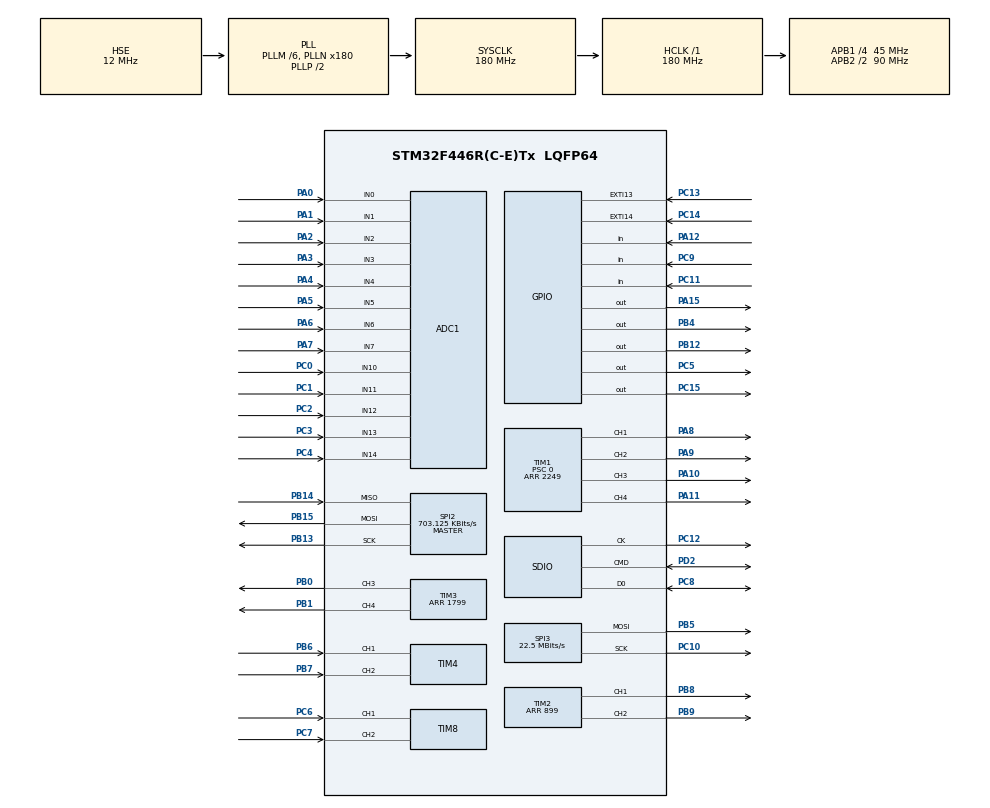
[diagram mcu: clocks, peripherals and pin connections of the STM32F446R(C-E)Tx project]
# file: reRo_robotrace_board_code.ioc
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ADC1.Channel-0\#ChannelRegularConversion=ADC_CHANNEL_10
ADC1.Channel-1\#ChannelRegularConversion=ADC_CHANNEL_11
ADC1.Channel-10\#ChannelRegularConversion=ADC_CHANNEL_7
ADC1.Channel-11\#ChannelRegularConversion=ADC_CHANNEL_6
ADC1.Channel-13\#ChannelRegularConversion=ADC_CHANNEL_14
ADC1.Channel-2\#ChannelRegularConversion=ADC_CHANNEL_12
ADC1.Channel-3\#ChannelRegularConversion=ADC_CHANNEL_13
ADC1.Channel-4\#ChannelRegularConversion=ADC_CHANNEL_2
ADC1.Channel-5\#ChannelRegularConversion=ADC_CHANNEL_1
ADC1.Channel-6\#ChannelRegularConversion=ADC_CHANNEL_0
ADC1.Channel-7\#ChannelRegularConversion=ADC_CHANNEL_3
ADC1.Channel-8\#ChannelRegularConversion=ADC_CHANNEL_4
ADC1.Channel-9\#ChannelRegularConversion=ADC_CHANNEL_5
ADC1.ContinuousConvMode=ENABLE
ADC1.DMAContinuousRequests=ENABLE
ADC1.NbrOfConversion=13
ADC1.NbrOfConversionFlag=1
ADC1.Rank-0\#ChannelRegularConversion=1
ADC1.Rank-1\#ChannelRegularConversion=2
ADC1.Rank-10\#ChannelRegularConversion=11
ADC1.Rank-11\#ChannelRegularConversion=12
ADC1.Rank-13\#ChannelRegularConversion=13
ADC1.Rank-2\#ChannelRegularConversion=3
ADC1.Rank-3\#ChannelRegularConversion=4
ADC1.Rank-4\#ChannelRegularConversion=5
ADC1.Rank-5\#ChannelRegularConversion=6
ADC1.Rank-6\#ChannelRegularConversion=7
ADC1.Rank-7\#ChannelRegularConversion=8
ADC1.Rank-8\#ChannelRegularConversion=9
ADC1.Rank-9\#ChannelRegularConversion=10
ADC1.SamplingTime-0\#ChannelRegularConversion=ADC_SAMPLETIME_15CYCLES
ADC1.SamplingTime-1\#ChannelRegularConversion=ADC_SAMPLETIME_15CYCLES
ADC1.SamplingTime-10\#ChannelRegularConversion=ADC_SAMPLETIME_15CYCLES
ADC1.SamplingTime-11\#ChannelRegularConversion=ADC_SAMPLETIME_15CYCLES
ADC1.SamplingTime-13\#ChannelRegularConversion=ADC_SAMPLETIME_15CYCLES
ADC1.SamplingTime-2\#ChannelRegularConversion=ADC_SAMPLETIME_15CYCLES
ADC1.SamplingTime-3\#ChannelRegularConversion=ADC_SAMPLETIME_15CYCLES
ADC1.SamplingTime-4\#ChannelRegularConversion=ADC_SAMPLETIME_15CYCLES
ADC1.SamplingTime-5\#ChannelRegularConversion=ADC_SAMPLETIME_15CYCLES
ADC1.SamplingTime-6\#ChannelRegularConversion=ADC_SAMPLETIME_15CYCLES
ADC1.SamplingTime-7\#ChannelRegularConversion=ADC_SAMPLETIME_15CYCLES
ADC1.SamplingTime-8\#ChannelRegularConversion=ADC_SAMPLETIME_15CYCLES
ADC1.SamplingTime-9\#ChannelRegularConversion=ADC_SAMPLETIME_15CYCLES
ADC1.ScanConvMode=ENABLE
ADC1.master=1
Dma.ADC1.2.Direction=DMA_PERIPH_TO_MEMORY
Dma.ADC1.2.FIFOMode=DMA_FIFOMODE_DISABLE
Dma.ADC1.2.Instance=DMA2_Stream0
Dma.ADC1.2.MemDataAlignment=DMA_MDATAALIGN_HALFWORD
Dma.ADC1.2.MemInc=DMA_MINC_ENABLE
Dma.ADC1.2.Mode=DMA_CIRCULAR
Dma.ADC1.2.PeriphDataAlignment=DMA_PDATAALIGN_HALFWORD
Dma.ADC1.2.PeriphInc=DMA_PINC_DISABLE
Dma.ADC1.2.Priority=DMA_PRIORITY_LOW
Dma.Request0=SDIO_RX
Dma.Request1=SDIO_TX
Dma.Request2=ADC1
Dma.SDIO_RX.0.Direction=DMA_PERIPH_TO_MEMORY
Dma.SDIO_RX.0.FIFOMode=DMA_FIFOMODE_ENABLE
Dma.SDIO_RX.0.FIFOThreshold=DMA_FIFO_THRESHOLD_FULL
Dma.SDIO_RX.0.Instance=DMA2_Stream3
Dma.SDIO_RX.0.MemBurst=DMA_MBURST_INC4
Dma.SDIO_RX.0.MemDataAlignment=DMA_MDATAALIGN_WORD
Dma.SDIO_RX.0.MemInc=DMA_MINC_ENABLE
Dma.SDIO_RX.0.Mode=DMA_PFCTRL
Dma.SDIO_RX.0.PeriphBurst=DMA_PBURST_INC4
Dma.SDIO_RX.0.PeriphDataAlignment=DMA_PDATAALIGN_WORD
Dma.SDIO_RX.0.PeriphInc=DMA_PINC_DISABLE
Dma.SDIO_RX.0.Priority=DMA_PRIORITY_MEDIUM
Dma.SDIO_TX.1.Direction=DMA_MEMORY_TO_PERIPH
Dma.SDIO_TX.1.FIFOMode=DMA_FIFOMODE_ENABLE
Dma.SDIO_TX.1.FIFOThreshold=DMA_FIFO_THRESHOLD_FULL
Dma.SDIO_TX.1.Instance=DMA2_Stream6
Dma.SDIO_TX.1.MemBurst=DMA_MBURST_INC4
Dma.SDIO_TX.1.MemDataAlignment=DMA_MDATAALIGN_WORD
Dma.SDIO_TX.1.MemInc=DMA_MINC_ENABLE
Dma.SDIO_TX.1.Mode=DMA_PFCTRL
Dma.SDIO_TX.1.PeriphBurst=DMA_PBURST_INC4
Dma.SDIO_TX.1.PeriphDataAlignment=DMA_PDATAALIGN_WORD
Dma.SDIO_TX.1.PeriphInc=DMA_PINC_DISABLE
Dma.SDIO_TX.1.Priority=DMA_PRIORITY_MEDIUM
FATFS.BSP.number=1
FATFS.USE_DMA_CODE_SD=1
FATFS._FS_RPATH=1
FATFS._MAX_SS=4096
FATFS._USE_CHMOD=1
FATFS._USE_LFN=1
FATFS0.BSP.STBoard=false
FATFS0.BSP.api=Unknown
FATFS0.BSP.instance=PC11
FATFS0.BSP.ip=GPIO
FATFS0.BSP.mode=Input
FATFS0.BSP.name=Detect_SDIO
FATFS0.BSP.solution=PC11
Mcu.Family=STM32F4
Mcu.Name=STM32F446R(C-E)Tx
Mcu.Package=LQFP64
NVIC.DMA2_Stream0_IRQn=true\:0\:0\:false\:false\:true\:false\:true\:true
NVIC.DMA2_Stream3_IRQn=true\:0\:0\:false\:false\:true\:false\:true\:true
NVIC.DMA2_Stream6_IRQn=true\:0\:0\:false\:false\:true\:false\:true\:true
NVIC.EXTI15_10_IRQn=true\:0\:0\:false\:false\:true\:true\:true\:true
NVIC.PriorityGroup=NVIC_PRIORITYGROUP_4
NVIC.SDIO_IRQn=true\:0\:0\:false\:false\:true\:true\:true\:true
NVIC.TIM1_UP_TIM10_IRQn=true\:0\:0\:false\:false\:true\:true\:true\:true
NVIC.TIM6_DAC_IRQn=true\:0\:0\:true\:false\:true\:true\:true\:true
NVIC.TIM7_IRQn=true\:0\:0\:false\:false\:true\:true\:true\:true
PA0-WKUP.Signal=ADCx_IN0
PA1.Signal=ADCx_IN1
PA10.Signal=S_TIM1_CH3
PA11.Signal=S_TIM1_CH4
PA12.GPIO_PuPd=GPIO_PULLUP
PA12.Signal=GPIO_Input
PA13.Mode=Trace_Asynchronous_SW
PA13.Signal=SYS_JTMS-SWDIO
PA14.Mode=Trace_Asynchronous_SW
PA14.Signal=SYS_JTCK-SWCLK
PA15.Signal=GPIO_Output
PA2.Signal=ADCx_IN2
PA3.Signal=ADCx_IN3
PA4.Signal=ADCx_IN4
PA5.Signal=ADCx_IN5
PA6.Signal=ADCx_IN6
PA7.Signal=ADCx_IN7
PA8.Signal=S_TIM1_CH1
PA9.Signal=S_TIM1_CH2
PB0.Signal=S_TIM3_CH3
PB1.Signal=S_TIM3_CH4
PB12.GPIO_Speed=GPIO_SPEED_FREQ_HIGH
PB12.Signal=GPIO_Output
PB13.Mode=Full_Duplex_Master
PB13.Signal=SPI2_SCK
PB14.Mode=Full_Duplex_Master
PB14.Signal=SPI2_MISO
PB15.Mode=Full_Duplex_Master
PB15.Signal=SPI2_MOSI
PB3.Mode=Trace_Asynchronous_SW
PB3.Signal=SYS_JTDO-SWO
PB4.Signal=GPIO_Output
PB5.Mode=TX_Only_Simplex_Unidirect_Master
PB5.Signal=SPI3_MOSI
PB6.Signal=S_TIM4_CH1
PB7.Signal=S_TIM4_CH2
PB8.GPIO_PuPd=GPIO_NOPULL
PB8.Signal=S_TIM2_CH1_ETR
PB9.GPIO_PuPd=GPIO_NOPULL
PB9.Signal=S_TIM2_CH2
PC0.Signal=ADCx_IN10
PC1.Signal=ADCx_IN11
PC10.Mode=TX_Only_Simplex_Unidirect_Master
PC10.Signal=SPI3_SCK
PC11.Signal=GPIO_Input
PC12.Mode=SD_1_bit
PC12.Signal=SDIO_CK
PC13.GPIO_ModeDefaultEXTI=GPIO_MODE_IT_RISING_FALLING
PC13.Signal=GPXTI13
PC14-OSC32_IN.GPIO_ModeDefaultEXTI=GPIO_MODE_IT_RISING_FALLING
PC14-OSC32_IN.Signal=GPXTI14
PC15-OSC32_OUT.Signal=GPIO_Output
PC2.Signal=ADCx_IN12
PC3.Signal=ADCx_IN13
PC4.Signal=ADCx_IN14
PC5.GPIO_PuPd=GPIO_NOPULL
PC5.Signal=GPIO_Output
PC6.GPIO_PuPd=GPIO_NOPULL
PC6.Signal=S_TIM8_CH1
PC7.GPIO_PuPd=GPIO_NOPULL
PC7.Signal=S_TIM8_CH2
PC8.Mode=SD_1_bit
PC8.Signal=SDIO_D0
PC9.GPIO_PuPd=GPIO_PULLUP
PC9.Signal=GPIO_Input
PD2.Mode=SD_1_bit
PD2.Signal=SDIO_CMD
PH0-OSC_IN.Mode=HSE-External-Oscillator
PH0-OSC_IN.Signal=RCC_OSC_IN
PH1-OSC_OUT.Mode=HSE-External-Oscillator
PH1-OSC_OUT.Signal=RCC_OSC_OUT
ProjectManager.HeapSize=0x200
ProjectManager.StackSize=0x400
ProjectManager.TargetToolchain=STM32CubeIDE
RCC.AHBFreq_Value=180000000
RCC.APB1CLKDivider=RCC_HCLK_DIV4
RCC.APB1Freq_Value=45000000
RCC.APB1TimFreq_Value=90000000
RCC.APB2CLKDivider=RCC_HCLK_DIV2
RCC.APB2Freq_Value=90000000
RCC.APB2TimFreq_Value=180000000
RCC.CortexFreq_Value=180000000
RCC.HCLKFreq_Value=180000000
RCC.HSE_VALUE=12000000
RCC.PLLM=6
RCC.PLLN=180
RCC.PLLQ=8
RCC.PLLSourceVirtual=RCC_PLLSOURCE_HSE
RCC.SYSCLKFreq_VALUE=180000000
RCC.SYSCLKSource=RCC_SYSCLKSOURCE_PLLCLK
RCC.USBFreq_Value=45000000
RCC.VCOOutputFreq_Value=360000000
SH.ADCx_IN0.0=ADC1_IN0,IN0
SH.ADCx_IN1.0=ADC1_IN1,IN1
SH.ADCx_IN10.0=ADC1_IN10,IN10
SH.ADCx_IN11.0=ADC1_IN11,IN11
SH.ADCx_IN12.0=ADC1_IN12,IN12
SH.ADCx_IN13.0=ADC1_IN13,IN13
SH.ADCx_IN14.0=ADC1_IN14,IN14
SH.ADCx_IN2.0=ADC1_IN2,IN2
SH.ADCx_IN3.0=ADC1_IN3,IN3
SH.ADCx_IN4.0=ADC1_IN4,IN4
SH.ADCx_IN5.0=ADC1_IN5,IN5
SH.ADCx_IN6.0=ADC1_IN6,IN6
SH.ADCx_IN7.0=ADC1_IN7,IN7
SH.S_TIM1_CH1.0=TIM1_CH1,PWM Generation1 CH1
SH.S_TIM1_CH2.0=TIM1_CH2,PWM Generation2 CH2
SH.S_TIM1_CH3.0=TIM1_CH3,PWM Generation3 CH3
SH.S_TIM1_CH4.0=TIM1_CH4,PWM Generation4 CH4
SH.S_TIM2_CH1_ETR.0=TIM2_CH1,PWM Generation1 CH1
SH.S_TIM2_CH2.0=TIM2_CH2,PWM Generation2 CH2
SH.S_TIM3_CH3.0=TIM3_CH3,PWM Generation3 CH3
SH.S_TIM3_CH4.0=TIM3_CH4,PWM Generation4 CH4
SH.S_TIM4_CH1.0=TIM4_CH1,Encoder_Interface
SH.S_TIM4_CH2.0=TIM4_CH2,Encoder_Interface
SH.S_TIM8_CH1.0=TIM8_CH1,Encoder_Interface
SH.S_TIM8_CH2.0=TIM8_CH2,Encoder_Interface
SPI2.BaudRatePrescaler=SPI_BAUDRATEPRESCALER_64
SPI2.CLKPhase=SPI_PHASE_1EDGE
SPI2.CLKPolarity=SPI_POLARITY_LOW
SPI2.CalculateBaudRate=703.125 KBits/s
SPI2.Direction=SPI_DIRECTION_2LINES
SPI2.Mode=SPI_MODE_MASTER
SPI2.VirtualType=VM_MASTER
SPI3.CalculateBaudRate=22.5 MBits/s
SPI3.Direction=SPI_DIRECTION_2LINES
SPI3.Mode=SPI_MODE_MASTER
SPI3.VirtualType=VM_MASTER
TIM1.Channel-PWM\ Generation1\ CH1=TIM_CHANNEL_1
TIM1.Channel-PWM\ Generation2\ CH2=TIM_CHANNEL_2
TIM1.Channel-PWM\ Generation3\ CH3=TIM_CHANNEL_3
TIM1.Channel-PWM\ Generation4\ CH4=TIM_CHANNEL_4
TIM1.ClockDivision=TIM_CLOCKDIVISION_DIV1
TIM1.Period=2249
TIM1.Prescaler=0
TIM10.Period=9999
TIM10.Prescaler=179
TIM2.Channel-PWM\ Generation1\ CH1=TIM_CHANNEL_1
TIM2.Channel-PWM\ Generation2\ CH2=TIM_CHANNEL_2
TIM2.Period=899
TIM3.Channel-PWM\ Generation3\ CH3=TIM_CHANNEL_3
TIM3.Channel-PWM\ Generation4\ CH4=TIM_CHANNEL_4
TIM3.Period=1799
TIM4.EncoderMode=TIM_ENCODERMODE_TI12
TIM6.Period=999
TIM6.Prescaler=89
TIM7.Period=99
TIM7.Prescaler=89
TIM8.EncoderMode=TIM_ENCODERMODE_TI12
VP_FATFS_VS_SDIO.Mode=SDIO
VP_TIM10_VS_ClockSourceINT.Mode=Enable_Timer
VP_TIM6_VS_ClockSourceINT.Mode=Enable_Timer
VP_TIM7_VS_ClockSourceINT.Mode=Enable_Timer
board=custom

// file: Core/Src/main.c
/* USER CODE BEGIN Header */
/**
 ******************************************************************************
 * @file           : main.c
 * @brief          : Main program body
 ******************************************************************************
 * @attention
 *
 * Copyright (c) 2023 STMicroelectronics.
 * All rights reserved.
 *
 * This software is licensed under terms that can be found in the LICENSE file
 * in the root directory of this software component.
 * If no LICENSE file comes with this software, it is provided AS-IS.
 *
 ******************************************************************************
 */
/* USER CODE END Header */
#include "main.h"
#include "fatfs.h"

/* USER CODE BEGIN Includes */
//#include "AQM0802.h"
#include "stdio.h"
//#include "MPU6500.h"
#include "cppMain.hpp"

/* USER CODE END Includes */

ADC_HandleTypeDef hadc1;
DMA_HandleTypeDef hdma_adc1;

SD_HandleTypeDef hsd;
DMA_HandleTypeDef hdma_sdio_rx;
DMA_HandleTypeDef hdma_sdio_tx;

SPI_HandleTypeDef hspi2;
SPI_HandleTypeDef hspi3;

TIM_HandleTypeDef htim1;
TIM_HandleTypeDef htim2;
TIM_HandleTypeDef htim3;
TIM_HandleTypeDef htim4;
TIM_HandleTypeDef htim6;
TIM_HandleTypeDef htim7;
TIM_HandleTypeDef htim8;
TIM_HandleTypeDef htim10;

/* USER CODE BEGIN PV */
uint16_t tim6_timer;
uint16_t tim7_timer;
uint16_t tim10_timer;

/* USER CODE END PV */

void SystemClock_Config(void);
static void MX_GPIO_Init(void);
static void MX_DMA_Init(void);
static void MX_ADC1_Init(void);
static void MX_SDIO_SD_Init(void);
static void MX_SPI2_Init(void);
static void MX_TIM1_Init(void);
static void MX_TIM8_Init(void);
static void MX_TIM6_Init(void);
static void MX_TIM2_Init(void);
static void MX_TIM7_Init(void);
static void MX_SPI3_Init(void);
static void MX_TIM4_Init(void);
static void MX_TIM10_Init(void);
static void MX_TIM3_Init(void);

/* USER CODE BEGIN 0 */
int _write(int file, char *ptr, int len)
{
	int DataIdx;
	for(DataIdx=0; DataIdx<len; DataIdx++)
	{
		ITM_SendChar(*ptr++);
	}
	return len;
}

void HAL_GPIO_EXTI_Callback(uint16_t GPIO_Pin)
{
	cppExit(GPIO_Pin);
}

void HAL_TIM_PeriodElapsedCallback(TIM_HandleTypeDef *htim)
{
	if(htim->Instance == TIM7){		//0.1ms
		cppFlip100ns();

		tim7_timer++;
		if(tim7_timer >= 100000) tim7_timer = 0;
	}

	if (htim->Instance == TIM6){	//1msec
		cppFlip1ms();

		tim6_timer++;
		if(tim6_timer >= 100000) tim6_timer = 0;
	}

	if (htim->Instance == TIM10){	//10msec
		cppFlip10ms();

		tim10_timer++;
		if(tim10_timer >= 100000) tim10_timer = 0;
	}

}

/* USER CODE END 0 */

int main(void)
{

  /* MCU Configuration--------------------------------------------------------*/

  /* Reset of all peripherals, Initializes the Flash interface and the Systick. */
  HAL_Init();

  /* Configure the system clock */
  SystemClock_Config();

  /* Initialize all configured peripherals */
  MX_GPIO_Init();
  MX_DMA_Init();
  MX_ADC1_Init();
  MX_SDIO_SD_Init();
  MX_SPI2_Init();
  MX_TIM1_Init();
  MX_TIM8_Init();
  MX_TIM6_Init();
  MX_FATFS_Init();
  MX_TIM2_Init();
  MX_TIM7_Init();
  MX_SPI3_Init();
  MX_TIM4_Init();
  MX_TIM10_Init();
  MX_TIM3_Init();
  /* USER CODE BEGIN 2 */
	cppInit();

	//printf("HelloWorld!!\r\n");

  /* USER CODE END 2 */

  /* Infinite loop */
  /* USER CODE BEGIN WHILE */
	while (1)
	{
		cppLoop();

    /* USER CODE END WHILE */

	}
}

void SystemClock_Config(void)
{
  RCC_OscInitTypeDef RCC_OscInitStruct = {0};
  RCC_ClkInitTypeDef RCC_ClkInitStruct = {0};

  /** Configure the main internal regulator output voltage
  */
  __HAL_RCC_PWR_CLK_ENABLE();
  __HAL_PWR_VOLTAGESCALING_CONFIG(PWR_REGULATOR_VOLTAGE_SCALE1);

  /** Initializes the RCC Oscillators according to the specified parameters
  * in the RCC_OscInitTypeDef structure.
  */
  RCC_OscInitStruct.OscillatorType = RCC_OSCILLATORTYPE_HSE;
  RCC_OscInitStruct.HSEState = RCC_HSE_ON;
  RCC_OscInitStruct.PLL.PLLState = RCC_PLL_ON;
  RCC_OscInitStruct.PLL.PLLSource = RCC_PLLSOURCE_HSE;
  RCC_OscInitStruct.PLL.PLLM = 6;
  RCC_OscInitStruct.PLL.PLLN = 180;
  RCC_OscInitStruct.PLL.PLLP = RCC_PLLP_DIV2;
  RCC_OscInitStruct.PLL.PLLQ = 8;
  RCC_OscInitStruct.PLL.PLLR = 2;
  if (HAL_RCC_OscConfig(&RCC_OscInitStruct) != HAL_OK)
  {
    Error_Handler();
  }

  /** Activate the Over-Drive mode
  */
  if (HAL_PWREx_EnableOverDrive() != HAL_OK)
  {
    Error_Handler();
  }

  /** Initializes the CPU, AHB and APB buses clocks
  */
  RCC_ClkInitStruct.ClockType = RCC_CLOCKTYPE_HCLK|RCC_CLOCKTYPE_SYSCLK
                              |RCC_CLOCKTYPE_PCLK1|RCC_CLOCKTYPE_PCLK2;
  RCC_ClkInitStruct.SYSCLKSource = RCC_SYSCLKSOURCE_PLLCLK;
  RCC_ClkInitStruct.AHBCLKDivider = RCC_SYSCLK_DIV1;
  RCC_ClkInitStruct.APB1CLKDivider = RCC_HCLK_DIV4;
  RCC_ClkInitStruct.APB2CLKDivider = RCC_HCLK_DIV2;

  if (HAL_RCC_ClockConfig(&RCC_ClkInitStruct, FLASH_LATENCY_5) != HAL_OK)
  {
    Error_Handler();
  }
}

static void MX_ADC1_Init(void)
{

  ADC_ChannelConfTypeDef sConfig = {0};

  /** Configure the global features of the ADC (Clock, Resolution, Data Alignment and number of conversion)
  */
  hadc1.Instance = ADC1;
  hadc1.Init.ClockPrescaler = ADC_CLOCK_SYNC_PCLK_DIV4;
  hadc1.Init.Resolution = ADC_RESOLUTION_12B;
  hadc1.Init.ScanConvMode = ENABLE;
  hadc1.Init.ContinuousConvMode = ENABLE;
  hadc1.Init.DiscontinuousConvMode = DISABLE;
  hadc1.Init.ExternalTrigConvEdge = ADC_EXTERNALTRIGCONVEDGE_NONE;
  hadc1.Init.ExternalTrigConv = ADC_SOFTWARE_START;
  hadc1.Init.DataAlign = ADC_DATAALIGN_RIGHT;
  hadc1.Init.NbrOfConversion = 13;
  hadc1.Init.DMAContinuousRequests = ENABLE;
  hadc1.Init.EOCSelection = ADC_EOC_SINGLE_CONV;
  if (HAL_ADC_Init(&hadc1) != HAL_OK)
  {
    Error_Handler();
  }

  /** Configure for the selected ADC regular channel its corresponding rank in the sequencer and its sample time.
  */
  sConfig.Channel = ADC_CHANNEL_10;
  sConfig.Rank = 1;
  sConfig.SamplingTime = ADC_SAMPLETIME_15CYCLES;
  if (HAL_ADC_ConfigChannel(&hadc1, &sConfig) != HAL_OK)
  {
    Error_Handler();
  }

  /** Configure for the selected ADC regular channel its corresponding rank in the sequencer and its sample time.
  */
  sConfig.Channel = ADC_CHANNEL_11;
  sConfig.Rank = 2;
  if (HAL_ADC_ConfigChannel(&hadc1, &sConfig) != HAL_OK)
  {
    Error_Handler();
  }

  /** Configure for the selected ADC regular channel its corresponding rank in the sequencer and its sample time.
  */
  sConfig.Channel = ADC_CHANNEL_12;
  sConfig.Rank = 3;
  if (HAL_ADC_ConfigChannel(&hadc1, &sConfig) != HAL_OK)
  {
    Error_Handler();
  }

  /** Configure for the selected ADC regular channel its corresponding rank in the sequencer and its sample time.
  */
  sConfig.Channel = ADC_CHANNEL_13;
  sConfig.Rank = 4;
  if (HAL_ADC_ConfigChannel(&hadc1, &sConfig) != HAL_OK)
  {
    Error_Handler();
  }

  /** Configure for the selected ADC regular channel its corresponding rank in the sequencer and its sample time.
  */
  sConfig.Channel = ADC_CHANNEL_2;
  sConfig.Rank = 5;
  if (HAL_ADC_ConfigChannel(&hadc1, &sConfig) != HAL_OK)
  {
    Error_Handler();
  }

  /** Configure for the selected ADC regular channel its corresponding rank in the sequencer and its sample time.
  */
  sConfig.Channel = ADC_CHANNEL_1;
  sConfig.Rank = 6;
  if (HAL_ADC_ConfigChannel(&hadc1, &sConfig) != HAL_OK)
  {
    Error_Handler();
  }

  /** Configure for the selected ADC regular channel its corresponding rank in the sequencer and its sample time.
  */
  sConfig.Channel = ADC_CHANNEL_0;
  sConfig.Rank = 7;
  if (HAL_ADC_ConfigChannel(&hadc1, &sConfig) != HAL_OK)
  {
    Error_Handler();
  }

  /** Configure for the selected ADC regular channel its corresponding rank in the sequencer and its sample time.
  */
  sConfig.Channel = ADC_CHANNEL_3;
  sConfig.Rank = 8;
  if (HAL_ADC_ConfigChannel(&hadc1, &sConfig) != HAL_OK)
  {
    Error_Handler();
  }

  /** Configure for the selected ADC regular channel its corresponding rank in the sequencer and its sample time.
  */
  sConfig.Channel = ADC_CHANNEL_4;
  sConfig.Rank = 9;
  if (HAL_ADC_ConfigChannel(&hadc1, &sConfig) != HAL_OK)
  {
    Error_Handler();
  }

  /** Configure for the selected ADC regular channel its corresponding rank in the sequencer and its sample time.
  */
  sConfig.Channel = ADC_CHANNEL_5;
  sConfig.Rank = 10;
  if (HAL_ADC_ConfigChannel(&hadc1, &sConfig) != HAL_OK)
  {
    Error_Handler();
  }

  /** Configure for the selected ADC regular channel its corresponding rank in the sequencer and its sample time.
  */
  sConfig.Channel = ADC_CHANNEL_7;
  sConfig.Rank = 11;
  if (HAL_ADC_ConfigChannel(&hadc1, &sConfig) != HAL_OK)
  {
    Error_Handler();
  }

  /** Configure for the selected ADC regular channel its corresponding rank in the sequencer and its sample time.
  */
  sConfig.Channel = ADC_CHANNEL_6;
  sConfig.Rank = 12;
  if (HAL_ADC_ConfigChannel(&hadc1, &sConfig) != HAL_OK)
  {
    Error_Handler();
  }

  /** Configure for the selected ADC regular channel its corresponding rank in the sequencer and its sample time.
  */
  sConfig.Channel = ADC_CHANNEL_14;
  sConfig.Rank = 13;
  if (HAL_ADC_ConfigChannel(&hadc1, &sConfig) != HAL_OK)
  {
    Error_Handler();
  }

}

static void MX_SDIO_SD_Init(void)
{

  hsd.Instance = SDIO;
  hsd.Init.ClockEdge = SDIO_CLOCK_EDGE_RISING;
  hsd.Init.ClockBypass = SDIO_CLOCK_BYPASS_DISABLE;
  hsd.Init.ClockPowerSave = SDIO_CLOCK_POWER_SAVE_DISABLE;
  hsd.Init.BusWide = SDIO_BUS_WIDE_1B;
  hsd.Init.HardwareFlowControl = SDIO_HARDWARE_FLOW_CONTROL_DISABLE;
  hsd.Init.ClockDiv = 0;

}

static void MX_SPI2_Init(void)
{

  /* SPI2 parameter configuration*/
  hspi2.Instance = SPI2;
  hspi2.Init.Mode = SPI_MODE_MASTER;
  hspi2.Init.Direction = SPI_DIRECTION_2LINES;
  hspi2.Init.DataSize = SPI_DATASIZE_8BIT;
  hspi2.Init.CLKPolarity = SPI_POLARITY_LOW;
  hspi2.Init.CLKPhase = SPI_PHASE_1EDGE;
  hspi2.Init.NSS = SPI_NSS_SOFT;
  hspi2.Init.BaudRatePrescaler = SPI_BAUDRATEPRESCALER_64;
  hspi2.Init.FirstBit = SPI_FIRSTBIT_MSB;
  hspi2.Init.TIMode = SPI_TIMODE_DISABLE;
  hspi2.Init.CRCCalculation = SPI_CRCCALCULATION_DISABLE;
  hspi2.Init.CRCPolynomial = 10;
  if (HAL_SPI_Init(&hspi2) != HAL_OK)
  {
    Error_Handler();
  }

}

static void MX_SPI3_Init(void)
{

  /* SPI3 parameter configuration*/
  hspi3.Instance = SPI3;
  hspi3.Init.Mode = SPI_MODE_MASTER;
  hspi3.Init.Direction = SPI_DIRECTION_2LINES;
  hspi3.Init.DataSize = SPI_DATASIZE_8BIT;
  hspi3.Init.CLKPolarity = SPI_POLARITY_LOW;
  hspi3.Init.CLKPhase = SPI_PHASE_1EDGE;
  hspi3.Init.NSS = SPI_NSS_SOFT;
  hspi3.Init.BaudRatePrescaler = SPI_BAUDRATEPRESCALER_2;
  hspi3.Init.FirstBit = SPI_FIRSTBIT_MSB;
  hspi3.Init.TIMode = SPI_TIMODE_DISABLE;
  hspi3.Init.CRCCalculation = SPI_CRCCALCULATION_DISABLE;
  hspi3.Init.CRCPolynomial = 10;
  if (HAL_SPI_Init(&hspi3) != HAL_OK)
  {
    Error_Handler();
  }

}

static void MX_TIM1_Init(void)
{

  TIM_MasterConfigTypeDef sMasterConfig = {0};
  TIM_OC_InitTypeDef sConfigOC = {0};
  TIM_BreakDeadTimeConfigTypeDef sBreakDeadTimeConfig = {0};

  htim1.Instance = TIM1;
  htim1.Init.Prescaler = 0;
  htim1.Init.CounterMode = TIM_COUNTERMODE_UP;
  htim1.Init.Period = 2249;
  htim1.Init.ClockDivision = TIM_CLOCKDIVISION_DIV1;
  htim1.Init.RepetitionCounter = 0;
  htim1.Init.AutoReloadPreload = TIM_AUTORELOAD_PRELOAD_DISABLE;
  if (HAL_TIM_PWM_Init(&htim1) != HAL_OK)
  {
    Error_Handler();
  }
  sMasterConfig.MasterOutputTrigger = TIM_TRGO_RESET;
  sMasterConfig.MasterSlaveMode = TIM_MASTERSLAVEMODE_DISABLE;
  if (HAL_TIMEx_MasterConfigSynchronization(&htim1, &sMasterConfig) != HAL_OK)
  {
    Error_Handler();
  }
  sConfigOC.OCMode = TIM_OCMODE_PWM1;
  sConfigOC.Pulse = 0;
  sConfigOC.OCPolarity = TIM_OCPOLARITY_HIGH;
  sConfigOC.OCNPolarity = TIM_OCNPOLARITY_HIGH;
  sConfigOC.OCFastMode = TIM_OCFAST_DISABLE;
  sConfigOC.OCIdleState = TIM_OCIDLESTATE_RESET;
  sConfigOC.OCNIdleState = TIM_OCNIDLESTATE_RESET;
  if (HAL_TIM_PWM_ConfigChannel(&htim1, &sConfigOC, TIM_CHANNEL_1) != HAL_OK)
  {
    Error_Handler();
  }
  if (HAL_TIM_PWM_ConfigChannel(&htim1, &sConfigOC, TIM_CHANNEL_2) != HAL_OK)
  {
    Error_Handler();
  }
  if (HAL_TIM_PWM_ConfigChannel(&htim1, &sConfigOC, TIM_CHANNEL_3) != HAL_OK)
  {
    Error_Handler();
  }
  if (HAL_TIM_PWM_ConfigChannel(&htim1, &sConfigOC, TIM_CHANNEL_4) != HAL_OK)
  {
    Error_Handler();
  }
  sBreakDeadTimeConfig.OffStateRunMode = TIM_OSSR_DISABLE;
  sBreakDeadTimeConfig.OffStateIDLEMode = TIM_OSSI_DISABLE;
  sBreakDeadTimeConfig.LockLevel = TIM_LOCKLEVEL_OFF;
  sBreakDeadTimeConfig.DeadTime = 0;
  sBreakDeadTimeConfig.BreakState = TIM_BREAK_DISABLE;
  sBreakDeadTimeConfig.BreakPolarity = TIM_BREAKPOLARITY_HIGH;
  sBreakDeadTimeConfig.AutomaticOutput = TIM_AUTOMATICOUTPUT_DISABLE;
  if (HAL_TIMEx_ConfigBreakDeadTime(&htim1, &sBreakDeadTimeConfig) != HAL_OK)
  {
    Error_Handler();
  }
  HAL_TIM_MspPostInit(&htim1);

}

static void MX_TIM2_Init(void)
{

  TIM_MasterConfigTypeDef sMasterConfig = {0};
  TIM_OC_InitTypeDef sConfigOC = {0};

  htim2.Instance = TIM2;
  htim2.Init.Prescaler = 0;
  htim2.Init.CounterMode = TIM_COUNTERMODE_UP;
  htim2.Init.Period = 899;
  htim2.Init.ClockDivision = TIM_CLOCKDIVISION_DIV1;
  htim2.Init.AutoReloadPreload = TIM_AUTORELOAD_PRELOAD_DISABLE;
  if (HAL_TIM_PWM_Init(&htim2) != HAL_OK)
  {
    Error_Handler();
  }
  sMasterConfig.MasterOutputTrigger = TIM_TRGO_RESET;
  sMasterConfig.MasterSlaveMode = TIM_MASTERSLAVEMODE_DISABLE;
  if (HAL_TIMEx_MasterConfigSynchronization(&htim2, &sMasterConfig) != HAL_OK)
  {
    Error_Handler();
  }
  sConfigOC.OCMode = TIM_OCMODE_PWM1;
  sConfigOC.Pulse = 0;
  sConfigOC.OCPolarity = TIM_OCPOLARITY_HIGH;
  sConfigOC.OCFastMode = TIM_OCFAST_DISABLE;
  if (HAL_TIM_PWM_ConfigChannel(&htim2, &sConfigOC, TIM_CHANNEL_1) != HAL_OK)
  {
    Error_Handler();
  }
  if (HAL_TIM_PWM_ConfigChannel(&htim2, &sConfigOC, TIM_CHANNEL_2) != HAL_OK)
  {
    Error_Handler();
  }
  HAL_TIM_MspPostInit(&htim2);

}

static void MX_TIM3_Init(void)
{

  TIM_MasterConfigTypeDef sMasterConfig = {0};
  TIM_OC_InitTypeDef sConfigOC = {0};

  htim3.Instance = TIM3;
  htim3.Init.Prescaler = 0;
  htim3.Init.CounterMode = TIM_COUNTERMODE_UP;
  htim3.Init.Period = 1799;
  htim3.Init.ClockDivision = TIM_CLOCKDIVISION_DIV1;
  htim3.Init.AutoReloadPreload = TIM_AUTORELOAD_PRELOAD_DISABLE;
  if (HAL_TIM_PWM_Init(&htim3) != HAL_OK)
  {
    Error_Handler();
  }
  sMasterConfig.MasterOutputTrigger = TIM_TRGO_RESET;
  sMasterConfig.MasterSlaveMode = TIM_MASTERSLAVEMODE_DISABLE;
  if (HAL_TIMEx_MasterConfigSynchronization(&htim3, &sMasterConfig) != HAL_OK)
  {
    Error_Handler();
  }
  sConfigOC.OCMode = TIM_OCMODE_PWM1;
  sConfigOC.Pulse = 0;
  sConfigOC.OCPolarity = TIM_OCPOLARITY_HIGH;
  sConfigOC.OCFastMode = TIM_OCFAST_DISABLE;
  if (HAL_TIM_PWM_ConfigChannel(&htim3, &sConfigOC, TIM_CHANNEL_3) != HAL_OK)
  {
    Error_Handler();
  }
  if (HAL_TIM_PWM_ConfigChannel(&htim3, &sConfigOC, TIM_CHANNEL_4) != HAL_OK)
  {
    Error_Handler();
  }
  HAL_TIM_MspPostInit(&htim3);

}

static void MX_TIM4_Init(void)
{

  TIM_Encoder_InitTypeDef sConfig = {0};
  TIM_MasterConfigTypeDef sMasterConfig = {0};

  htim4.Instance = TIM4;
  htim4.Init.Prescaler = 0;
  htim4.Init.CounterMode = TIM_COUNTERMODE_UP;
  htim4.Init.Period = 65535;
  htim4.Init.ClockDivision = TIM_CLOCKDIVISION_DIV1;
  htim4.Init.AutoReloadPreload = TIM_AUTORELOAD_PRELOAD_DISABLE;
  sConfig.EncoderMode = TIM_ENCODERMODE_TI12;
  sConfig.IC1Polarity = TIM_ICPOLARITY_RISING;
  sConfig.IC1Selection = TIM_ICSELECTION_DIRECTTI;
  sConfig.IC1Prescaler = TIM_ICPSC_DIV1;
  sConfig.IC1Filter = 0;
  sConfig.IC2Polarity = TIM_ICPOLARITY_RISING;
  sConfig.IC2Selection = TIM_ICSELECTION_DIRECTTI;
  sConfig.IC2Prescaler = TIM_ICPSC_DIV1;
  sConfig.IC2Filter = 0;
  if (HAL_TIM_Encoder_Init(&htim4, &sConfig) != HAL_OK)
  {
    Error_Handler();
  }
  sMasterConfig.MasterOutputTrigger = TIM_TRGO_RESET;
  sMasterConfig.MasterSlaveMode = TIM_MASTERSLAVEMODE_DISABLE;
  if (HAL_TIMEx_MasterConfigSynchronization(&htim4, &sMasterConfig) != HAL_OK)
  {
    Error_Handler();
  }

}

static void MX_TIM6_Init(void)
{

  TIM_MasterConfigTypeDef sMasterConfig = {0};

  htim6.Instance = TIM6;
  htim6.Init.Prescaler = 89;
  htim6.Init.CounterMode = TIM_COUNTERMODE_UP;
  htim6.Init.Period = 999;
  htim6.Init.AutoReloadPreload = TIM_AUTORELOAD_PRELOAD_DISABLE;
  if (HAL_TIM_Base_Init(&htim6) != HAL_OK)
  {
    Error_Handler();
  }
  sMasterConfig.MasterOutputTrigger = TIM_TRGO_RESET;
  sMasterConfig.MasterSlaveMode = TIM_MASTERSLAVEMODE_DISABLE;
  if (HAL_TIMEx_MasterConfigSynchronization(&htim6, &sMasterConfig) != HAL_OK)
  {
    Error_Handler();
  }

}

static void MX_TIM7_Init(void)
{

  TIM_MasterConfigTypeDef sMasterConfig = {0};

  htim7.Instance = TIM7;
  htim7.Init.Prescaler = 89;
  htim7.Init.CounterMode = TIM_COUNTERMODE_UP;
  htim7.Init.Period = 99;
  htim7.Init.AutoReloadPreload = TIM_AUTORELOAD_PRELOAD_DISABLE;
  if (HAL_TIM_Base_Init(&htim7) != HAL_OK)
  {
    Error_Handler();
  }
  sMasterConfig.MasterOutputTrigger = TIM_TRGO_RESET;
  sMasterConfig.MasterSlaveMode = TIM_MASTERSLAVEMODE_DISABLE;
  if (HAL_TIMEx_MasterConfigSynchronization(&htim7, &sMasterConfig) != HAL_OK)
  {
    Error_Handler();
  }

}

static void MX_TIM8_Init(void)
{

  TIM_Encoder_InitTypeDef sConfig = {0};
  TIM_MasterConfigTypeDef sMasterConfig = {0};

  htim8.Instance = TIM8;
  htim8.Init.Prescaler = 0;
  htim8.Init.CounterMode = TIM_COUNTERMODE_UP;
  htim8.Init.Period = 65535;
  htim8.Init.ClockDivision = TIM_CLOCKDIVISION_DIV1;
  htim8.Init.RepetitionCounter = 0;
  htim8.Init.AutoReloadPreload = TIM_AUTORELOAD_PRELOAD_DISABLE;
  sConfig.EncoderMode = TIM_ENCODERMODE_TI12;
  sConfig.IC1Polarity = TIM_ICPOLARITY_RISING;
  sConfig.IC1Selection = TIM_ICSELECTION_DIRECTTI;
  sConfig.IC1Prescaler = TIM_ICPSC_DIV1;
  sConfig.IC1Filter = 0;
  sConfig.IC2Polarity = TIM_ICPOLARITY_RISING;
  sConfig.IC2Selection = TIM_ICSELECTION_DIRECTTI;
  sConfig.IC2Prescaler = TIM_ICPSC_DIV1;
  sConfig.IC2Filter = 0;
  if (HAL_TIM_Encoder_Init(&htim8, &sConfig) != HAL_OK)
  {
    Error_Handler();
  }
  sMasterConfig.MasterOutputTrigger = TIM_TRGO_RESET;
  sMasterConfig.MasterSlaveMode = TIM_MASTERSLAVEMODE_DISABLE;
  if (HAL_TIMEx_MasterConfigSynchronization(&htim8, &sMasterConfig) != HAL_OK)
  {
    Error_Handler();
  }

}

static void MX_TIM10_Init(void)
{

  htim10.Instance = TIM10;
  htim10.Init.Prescaler = 179;
  htim10.Init.CounterMode = TIM_COUNTERMODE_UP;
  htim10.Init.Period = 9999;
  htim10.Init.ClockDivision = TIM_CLOCKDIVISION_DIV1;
  htim10.Init.AutoReloadPreload = TIM_AUTORELOAD_PRELOAD_DISABLE;
  if (HAL_TIM_Base_Init(&htim10) != HAL_OK)
  {
    Error_Handler();
  }

}

static void MX_DMA_Init(void)
{

  /* DMA controller clock enable */
  __HAL_RCC_DMA2_CLK_ENABLE();

  /* DMA interrupt init */
  /* DMA2_Stream0_IRQn interrupt configuration */
  HAL_NVIC_SetPriority(DMA2_Stream0_IRQn, 0, 0);
  HAL_NVIC_EnableIRQ(DMA2_Stream0_IRQn);
  /* DMA2_Stream3_IRQn interrupt configuration */
  HAL_NVIC_SetPriority(DMA2_Stream3_IRQn, 0, 0);
  HAL_NVIC_EnableIRQ(DMA2_Stream3_IRQn);
  /* DMA2_Stream6_IRQn interrupt configuration */
  HAL_NVIC_SetPriority(DMA2_Stream6_IRQn, 0, 0);
  HAL_NVIC_EnableIRQ(DMA2_Stream6_IRQn);

}

static void MX_GPIO_Init(void)
{
  GPIO_InitTypeDef GPIO_InitStruct = {0};

  /* GPIO Ports Clock Enable */
  __HAL_RCC_GPIOC_CLK_ENABLE();
  __HAL_RCC_GPIOH_CLK_ENABLE();
  __HAL_RCC_GPIOA_CLK_ENABLE();
  __HAL_RCC_GPIOB_CLK_ENABLE();
  __HAL_RCC_GPIOD_CLK_ENABLE();

  /*Configure GPIO pin Output Level */
  HAL_GPIO_WritePin(GPIOC, GPIO_PIN_15|GPIO_PIN_5, GPIO_PIN_RESET);

  /*Configure GPIO pin Output Level */
  HAL_GPIO_WritePin(GPIOB, GPIO_PIN_12|GPIO_PIN_4, GPIO_PIN_RESET);

  /*Configure GPIO pin Output Level */
  HAL_GPIO_WritePin(GPIOA, GPIO_PIN_15, GPIO_PIN_RESET);

  /*Configure GPIO pins : PC13 PC14 */
  GPIO_InitStruct.Pin = GPIO_PIN_13|GPIO_PIN_14;
  GPIO_InitStruct.Mode = GPIO_MODE_IT_RISING_FALLING;
  GPIO_InitStruct.Pull = GPIO_NOPULL;
  HAL_GPIO_Init(GPIOC, &GPIO_InitStruct);

  /*Configure GPIO pins : PC15 PC5 */
  GPIO_InitStruct.Pin = GPIO_PIN_15|GPIO_PIN_5;
  GPIO_InitStruct.Mode = GPIO_MODE_OUTPUT_PP;
  GPIO_InitStruct.Pull = GPIO_NOPULL;
  GPIO_InitStruct.Speed = GPIO_SPEED_FREQ_LOW;
  HAL_GPIO_Init(GPIOC, &GPIO_InitStruct);

  /*Configure GPIO pin : PB12 */
  GPIO_InitStruct.Pin = GPIO_PIN_12;
  GPIO_InitStruct.Mode = GPIO_MODE_OUTPUT_PP;
  GPIO_InitStruct.Pull = GPIO_NOPULL;
  GPIO_InitStruct.Speed = GPIO_SPEED_FREQ_HIGH;
  HAL_GPIO_Init(GPIOB, &GPIO_InitStruct);

  /*Configure GPIO pin : PC9 */
  GPIO_InitStruct.Pin = GPIO_PIN_9;
  GPIO_InitStruct.Mode = GPIO_MODE_INPUT;
  GPIO_InitStruct.Pull = GPIO_PULLUP;
  HAL_GPIO_Init(GPIOC, &GPIO_InitStruct);

  /*Configure GPIO pin : PA12 */
  GPIO_InitStruct.Pin = GPIO_PIN_12;
  GPIO_InitStruct.Mode = GPIO_MODE_INPUT;
  GPIO_InitStruct.Pull = GPIO_PULLUP;
  HAL_GPIO_Init(GPIOA, &GPIO_InitStruct);

  /*Configure GPIO pin : PA15 */
  GPIO_InitStruct.Pin = GPIO_PIN_15;
  GPIO_InitStruct.Mode = GPIO_MODE_OUTPUT_PP;
  GPIO_InitStruct.Pull = GPIO_NOPULL;
  GPIO_InitStruct.Speed = GPIO_SPEED_FREQ_LOW;
  HAL_GPIO_Init(GPIOA, &GPIO_InitStruct);

  /*Configure GPIO pin : PC11 */
  GPIO_InitStruct.Pin = GPIO_PIN_11;
  GPIO_InitStruct.Mode = GPIO_MODE_INPUT;
  GPIO_InitStruct.Pull = GPIO_NOPULL;
  HAL_GPIO_Init(GPIOC, &GPIO_InitStruct);

  /*Configure GPIO pin : PB4 */
  GPIO_InitStruct.Pin = GPIO_PIN_4;
  GPIO_InitStruct.Mode = GPIO_MODE_OUTPUT_PP;
  GPIO_InitStruct.Pull = GPIO_NOPULL;
  GPIO_InitStruct.Speed = GPIO_SPEED_FREQ_LOW;
  HAL_GPIO_Init(GPIOB, &GPIO_InitStruct);

  /* EXTI interrupt init*/
  HAL_NVIC_SetPriority(EXTI15_10_IRQn, 0, 0);
  HAL_NVIC_EnableIRQ(EXTI15_10_IRQn);

}

void Error_Handler(void)
{
	__disable_irq();
	while (1)
	{
	}
}
